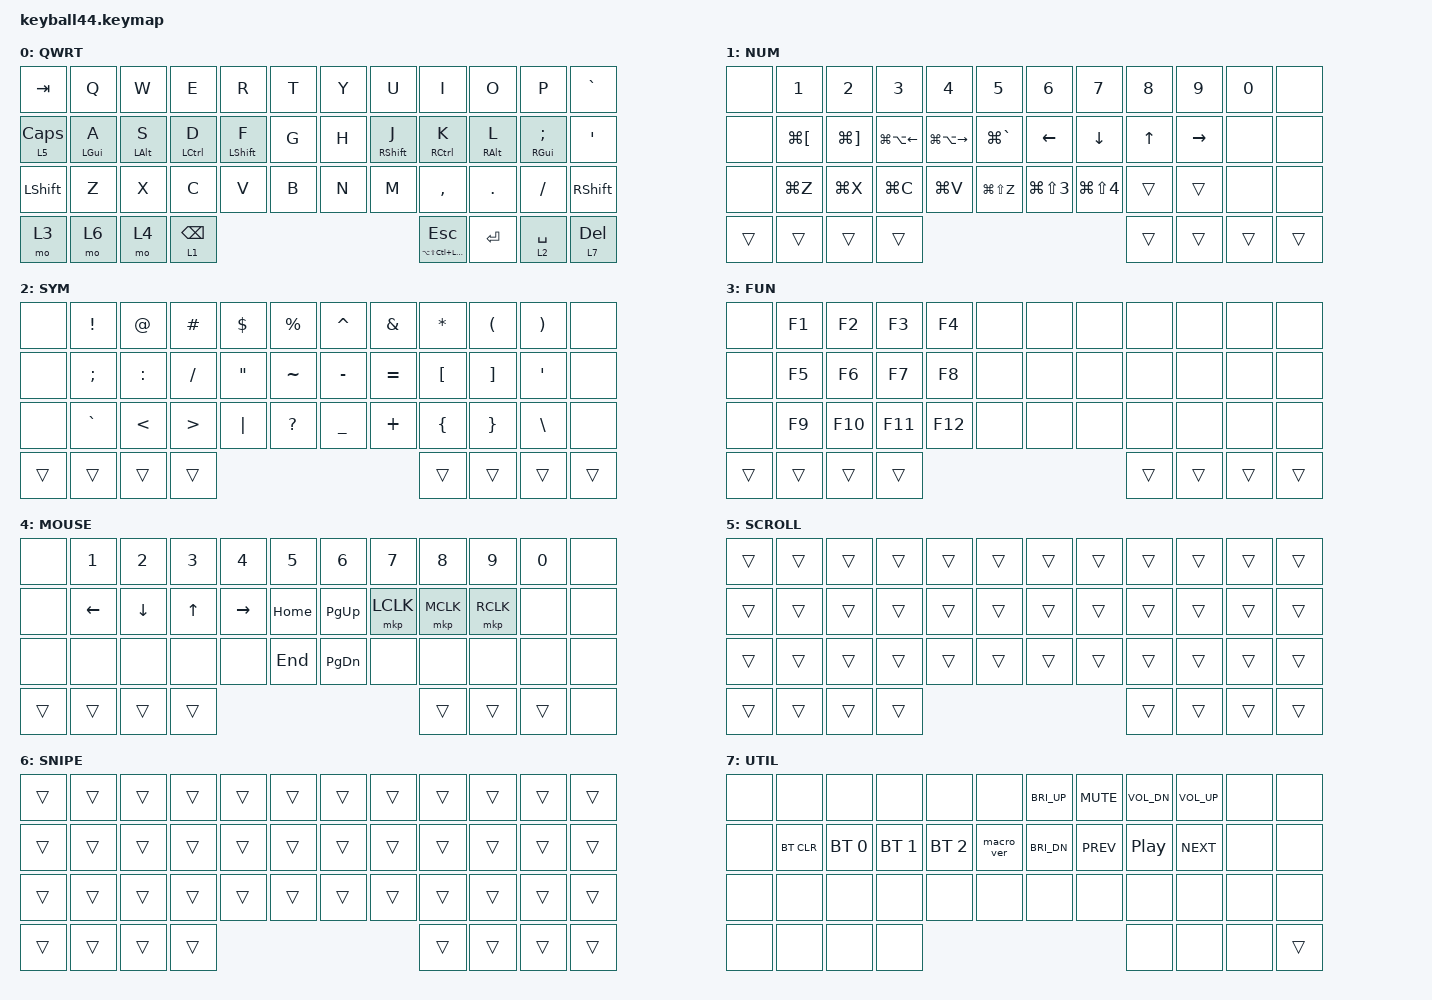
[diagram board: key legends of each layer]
#define DEFAULT 0
#define NUM     1
#define SYM     2
#define FUN     3
#define MOUSE   4
#define SCROLL  5
#define SNIPE   6
#define UTIL    7

#include <behaviors/mouse_keys.dtsi>
#include <behaviors.dtsi>
#include <dt-bindings/zmk/bt.h>
#include <dt-bindings/zmk/keys.h>
#include <dt-bindings/zmk/mouse.h>

&nice_view_spi { cs-gpios = <&pro_micro 1 GPIO_ACTIVE_HIGH>; };

&lt {
    tapping-term-ms = <240>;
    flavor = "balanced";
    quick-tap-ms = <150>;
};

&mt {
    tapping-term-ms = <200>;
    flavor = "tap-preferred";
    quick-tap-ms = <150>;
};

&caps_word { continue-list = <UNDERSCORE MINUS>; };

/ {
    // custom shift using mod-morph

    behaviors {
        #include "version.dtsi"

        // Homerow mods ported from the Adv360 (urob's "timeless HRM"
        // recipe): balanced flavor + require-prior-idle so mods only fire
        // when you pause then reach across hands, never mid-word; the
        // position lists restrict hold-trigger to opposite-hand non-thumb
        // keys. Excluding thumbs keeps fast letter+Space/Enter rolls as taps.
        // GACS order: A=GUI S=Alt D=Ctrl F=Shift, mirrored on JKL;.
        hrml: homerow_mods_left {
            compatible = "zmk,behavior-hold-tap";
            label = "HOMEROW_MODS_LEFT";
            #binding-cells = <2>;
            flavor = "balanced";
            tapping-term-ms = <280>;
            quick-tap-ms = <175>;
            require-prior-idle-ms = <250>;
            hold-trigger-on-release;
            hold-trigger-key-positions = <
                // Right hand rows; thumbs 41-43 deliberately excluded
                 6  7  8  9 10 11
                18 19 20 21 22 23
                30 31 32 33 34 35
            >;
            bindings = <&kp>, <&kp>;
        };

        hrmr: homerow_mods_right {
            compatible = "zmk,behavior-hold-tap";
            label = "HOMEROW_MODS_RIGHT";
            #binding-cells = <2>;
            flavor = "balanced";
            tapping-term-ms = <280>;
            quick-tap-ms = <175>;
            require-prior-idle-ms = <250>;
            hold-trigger-on-release;
            hold-trigger-key-positions = <
                // Left hand rows; thumbs 36-40 deliberately excluded
                 0  1  2  3  4  5
                12 13 14 15 16 17
                24 25 26 27 28 29
            >;
            bindings = <&kp>, <&kp>;
        };

        // Esc on tap, Hyper (4-mod chord) on hold - ported from the Adv360.
        // tap-preferred so the mods only fire on a deliberate hold;
        // require-prior-idle matches the HRMs.
        hyper_esc: hyper_esc {
            compatible = "zmk,behavior-hold-tap";
            label = "HYPER_ESC";
            #binding-cells = <2>;
            flavor = "tap-preferred";
            tapping-term-ms = <200>;
            quick-tap-ms = <175>;
            require-prior-idle-ms = <150>;
            bindings = <&kp>, <&kp>;
        };

        // Layer-tap for the thumb keys, ported from the Adv360's
        // lt_nav/lt_sym. Stock &lt uses balanced flavor with no idle
        // guard, so a fast space-then-t roll commits the hold and
        // types % (SYM + t). tap-preferred + require-prior-idle-ms
        // matches hyper_esc: the layer only engages on a deliberate
        // hold past the tapping-term, and is fully suppressed if
        // another key fired <150ms ago.
        ltp: layer_tap_preferred {
            compatible = "zmk,behavior-hold-tap";
            label = "LAYER_TAP_PREFERRED";
            #binding-cells = <2>;
            flavor = "tap-preferred";
            tapping-term-ms = <200>;
            quick-tap-ms = <175>;
            require-prior-idle-ms = <150>;
            bindings = <&mo>, <&kp>;
        };

        cmqus: comma_question {
            compatible = "zmk,behavior-mod-morph";
            label = "COMMA_QUESTION";
            #binding-cells = <0>;
            bindings = <&kp COMMA>, <&kp QUESTION>;

            mods = <(MOD_LSFT|MOD_RSFT)>;
        };

        dtsmi: dot_semi {
            compatible = "zmk,behavior-mod-morph";
            label = "DOT_SEMI";
            #binding-cells = <0>;
            bindings = <&kp DOT>, <&kp SEMI>;

            mods = <(MOD_LSFT|MOD_RSFT)>;
        };
    };

    keymap {
        compatible = "zmk,keymap";

        default_layer {
            label = "QWRT";
            bindings = <
&kp TAB         &kp Q     &kp W         &kp E        &kp R      &kp T                 &kp Y            &kp U  &kp I      &kp O    &kp P      &kp GRAVE
&lt 5 CAPS      &hrml LGUI A  &hrml LALT S  &hrml LCTRL D  &hrml LSHFT F  &kp G     &kp H  &hrmr RSHFT J  &hrmr RCTRL K  &hrmr RALT L  &hrmr RGUI SEMI  &kp SQT
&kp LEFT_SHIFT  &kp Z     &kp X         &kp C        &kp V      &kp B                 &kp N            &kp M  &kp COMMA  &kp DOT  &kp SLASH  &kp RIGHT_SHIFT
&mo 3           &mo 6     &mo 4         &ltp 1 BACKSPACE  &hyper_esc LA(LS(LC(LGUI))) ESCAPE      &kp ENTER  &ltp 2 SPACE                     &ltp 7 DELETE
            >;
        };

        number_layer {
            label = "NUM";
            bindings = <
&none   &kp NUMBER_1   &kp NUMBER_2   &kp NUMBER_3      &kp NUMBER_4       &kp NUMBER_5              &kp NUMBER_6  &kp NUMBER_7  &kp NUMBER_8  &kp NUMBER_9  &kp NUMBER_0  &none
&none   &kp LG(LBKT)   &kp LG(RBKT)   &kp LG(LA(LEFT))  &kp LG(LA(RIGHT))  &kp LG(GRAVE)             &kp LEFT      &kp DOWN      &kp UP_ARROW  &kp RIGHT     &none         &none
&none   &kp LG(Z)      &kp LG(X)      &kp LG(C)         &kp LG(V)          &kp LG(LS(Z))             &kp LG(LS(N3))  &kp LG(LS(N4))  &trans      &trans        &none         &none
&trans  &trans        &trans        &trans        &trans                          &trans  &trans                                                                &trans
            >;
        };

        symbol_layer {
            label = "SYM";
            bindings = <
&none   &kp EXCLAMATION  &kp AT_SIGN   &kp HASH      &kp DOLLAR    &kp PERCENT              &kp CARET       &kp AMPERSAND  &kp ASTERISK      &kp LEFT_PARENTHESIS  &kp RIGHT_PARENTHESIS  &none
&none   &kp SEMI         &kp COLON     &kp SLASH     &kp DQT       &kp TILDE                 &kp MINUS       &kp EQUAL      &kp LEFT_BRACKET  &kp RIGHT_BRACKET     &kp SQT                &none
&none   &kp GRAVE        &kp LT        &kp GT        &kp PIPE      &kp QUESTION              &kp UNDERSCORE  &kp PLUS       &kp LEFT_BRACE    &kp RIGHT_BRACE       &kp BACKSLASH          &none
&trans  &trans           &trans        &trans        &trans                         &trans  &trans                                                                                        &trans
            >;
        };

        function_layer {
            label = "FUN";
            bindings = <
&none   &kp F1  &kp F2   &kp F3   &kp F4   &none              &none  &none  &none  &none  &none  &none
&none   &kp F5  &kp F6   &kp F7   &kp F8   &none              &none  &none  &none  &none  &none  &none
&none   &kp F9  &kp F10  &kp F11  &kp F12  &none              &none  &none  &none  &none  &none  &none
&trans  &trans  &trans   &trans   &trans              &trans  &trans                             &trans
            >;
        };

        mouse_layer {
            label = "MOUSE";
            bindings = <
&none   &kp N1          &kp N2          &kp N3        &kp N4     &kp N5              &kp N6         &kp N7     &kp N8  &kp N9     &kp N0     &none
&none   &kp LEFT_ARROW  &kp DOWN_ARROW  &kp UP_ARROW  &kp RIGHT  &kp HOME            &kp PAGE_UP    &mkp LCLK  &mkp MCLK  &mkp RCLK  &none  &none
&none   &none           &none           &none         &none      &kp END             &kp PAGE_DOWN  &none      &none   &none      &none      &none
&trans  &trans          &trans          &trans        &trans                 &trans  &trans                                                  &none
            >;
        };

        scroll_layer {
            label = "SCROLL";
            bindings = <
&trans  &trans  &trans  &trans  &trans  &trans              &trans  &trans  &trans  &trans  &trans  &trans
&trans  &trans  &trans  &trans  &trans  &trans              &trans  &trans  &trans  &trans  &trans  &trans
&trans  &trans  &trans  &trans  &trans  &trans              &trans  &trans  &trans  &trans  &trans  &trans
&trans  &trans  &trans  &trans  &trans              &trans  &trans                                  &trans
            >;
        };

        snipe_layer {
            label = "SNIPE";
            bindings = <
&trans  &trans  &trans  &trans  &trans  &trans              &trans  &trans  &trans  &trans  &trans  &trans
&trans  &trans  &trans  &trans  &trans  &trans              &trans  &trans  &trans  &trans  &trans  &trans
&trans  &trans  &trans  &trans  &trans  &trans              &trans  &trans  &trans  &trans  &trans  &trans
&trans  &trans  &trans  &trans  &trans              &trans  &trans                                  &trans
            >;
        };

        // Hold the Delete thumb key (next to the trackball) for Bluetooth
        // management, the version macro, and media/display controls
        // (right hand mirrors the Adv360 Tri layer).
        utilities_layer {
            label = "UTIL";
            bindings = <
&none  &none       &none         &none         &none         &none               &kp C_BRI_UP  &kp C_MUTE  &kp C_VOL_DN  &kp C_VOL_UP  &none  &none
&none  &bt BT_CLR  &bt BT_SEL 0  &bt BT_SEL 1  &bt BT_SEL 2  &macro_ver          &kp C_BRI_DN  &kp C_PREV  &kp C_PP      &kp C_NEXT    &none  &none
&none  &none       &none         &none         &none         &none               &none         &none       &none         &none         &none  &none
&none  &none       &none         &none         &none               &none  &none                                                               &trans
            >;
        };
    };
};
